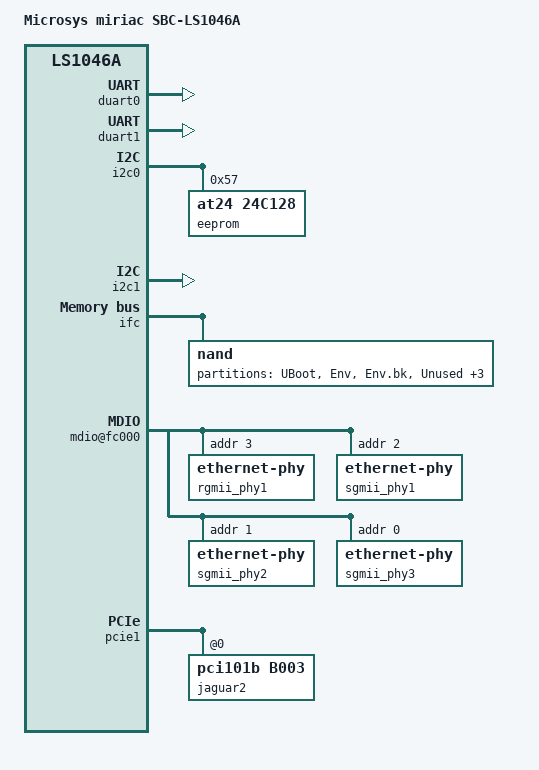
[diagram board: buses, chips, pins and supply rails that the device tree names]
// SPDX-License-Identifier: (GPL-2.0+ OR MIT)

/dts-v1/;

#include "fsl-ls1046a.dtsi"
#include "fsl-ls1046a-miriac-mpxls1046.dtsi"

/ {
	model = "Microsys miriac SBC-LS1046A";
	compatible = "microsys,sbc1046a", "microsys,mpxls1046a", "fsl,ls1046a";

	aliases {
		ethernet0 = &enet2;
		ethernet1 = &enet4;
		ethernet2 = &enet5;
		ethernet3 = &enet6;

		serial0 = &duart0;
		serial1 = &duart1;
		serial2 = &duart2;
		serial3 = &duart3;
	};

	chosen {
		stdout-path = "serial0:115200n8";
	};

	meba {
		board = "Jaguar2 pcb110 via PCI";
		pcb = "pcb110";
	};
};

&duart0 {
	status = "okay";
};

&duart1 {
	status = "okay";
};

&i2c0 {
	status = "okay";

	eeprom@57 {
		compatible = "at24,24c128";
		reg = <0x57>;
	};
};

&i2c1 {
	status = "okay";
};

&ifc {
	nand@0,0 {
		partition@0 {
			reg = <0x0 0x00100000>;
			label = "UBoot";
			read-only;
		};

		partition@100000 {
			reg = <0x00100000 0x00040000>;
			label = "Env";
		};

		partition@140000 {
			reg = <0x00140000 0x00040000>;
			label = "Env.bk";
		};

		partition@180000 {
			reg = <0x00180000 0x00080000>;
			label = "Unused";
		};

		partition@200000 {
			reg = <0x00200000 0x01400000>;
			label = "linux";
		};

		partition@1600000 {
			reg = <0x01600000 0x01400000>;
			label = "linux.bk";
		};

		partition@2a00000 {
			reg = <0x02a00000 0x1d600000>;
			label = "rootfs_nand_data";
		};
	};
};

#include "fsl-ls1046-post.dtsi"

&fman0 {
	compatible = "fsl,fman", "simple-bus";

	ethernet@e4000 {
		phy-handle = <&rgmii_phy1>;
		phy-connection-type = "rgmii";
	};

	ethernet@e8000 {
		phy-handle = <&sgmii_phy1>;
		phy-connection-type = "sgmii";
	};

	ethernet@ea000 {
		phy-handle = <&sgmii_phy2>;
		phy-connection-type = "sgmii";
	};

	ethernet@f0000 {
		phy-handle = <&sgmii_phy3>;
		phy-connection-type = "sgmii";
	};

	mdio@fc000 {
		rgmii_phy1: ethernet-phy@3 {
			reg = <3>;
		};

		sgmii_phy1: ethernet-phy@2 {
			reg = <2>;
		};

		sgmii_phy2: ethernet-phy@1 {
			reg = <1>;
		};

		sgmii_phy3: ethernet-phy@0 {
			reg = <0>;
		};
	};
};

&pcie1 {
	pci@0,0 {
		#address-cells = <3>;
		#size-cells = <2>;
		reg = <0 0 0 0 0>;
		device_type = "pci";
		ranges = <0x82000000 0x0 0x40000000 0x82000000 0x0 0x40000000 0 0x40000000>;

		jaguar2: switch@0,0 {
			compatible = "pci101b,b003";

			reg = <0x0000 0 0 0 0>;
			#address-cells = <1>;
			#size-cells = <1>;
			ranges = <0 0x82000000 0x0 0x48000000 0x2000000>;

			#interrupt-cells = <1>;
			interrupt-controller;
			interrupt-parent = <&jaguar2>;

			jaguar_clk: jaguar-clock {
				compatible = "fixed-clock";
				#clock-cells = <0>;
				clock-frequency = <250000000>;
			};

			cpu_ctrl: syscon@0 {
				compatible = "mscc,jaguar2-cpu-syscon", "syscon";
				reg = <0x0 0x2c>;
			};

			gpio: pinctrl@1070034 {
				compatible = "mscc,jaguar2-pinctrl";
				reg = <0x1010038 0x90>;
				gpio-controller;
				#gpio-cells = <2>;
				gpio-ranges = <&gpio 0 0 64>;

				uart_pins: uart-pins {
					pins = "GPIO_10", "GPIO_11";
					function = "uart";
				};

				uart2_pins: uart2-pins {
					pins = "GPIO_24", "GPIO_25";
					function = "uart2";
				};

				i2c_pins: i2c-pins {
					pins = "GPIO_14", "GPIO_15";
					function = "twi";
				};

				i2c2_pins: i2c2-pins {
					pins = "GPIO_28", "GPIO_29";
					function = "twi2";
				};

				twiscl_m_pins: twiscl_m-pins {
					pins = "GPIO_17", "GPIO_18", "GPIO_20", "GPIO_21";
					function = "twi_scl_m";
				};
			};

			serial@100000 {
				pinctrl-0 = <&uart_pins>;
				pinctrl-names = "default";
				compatible = "ns16550a";
				reg = <0x100000 0x100>;
				interrupts = <6>;
				clocks = <&jaguar_clk>;
				no-loopback-test;
				reg-io-width = <4>;
				reg-shift = <2>;
			};

			i2c_parent: i2c@100400 {
				compatible = "mscc,ocelot-i2c", "snps,designware-i2c";
				pinctrl-0 = <&i2c_pins>;
				pinctrl-names = "default";
				reg = <0x100400 0x100>, <0x1b8 0x8>;
				#address-cells = <1>;
				#size-cells = <0>;
				interrupts = <8>;
				i2c-sda-hold-time-ns = <300>;
				clock-frequency = <100000>;
				clocks = <&jaguar_clk>;
			};

			i2cmux {
				compatible = "i2c-mux-gpio";
				pinctrl-0 = <&twiscl_m_pins>;
				#address-cells = <1>;
				#size-cells = <0>;
				mux-gpios = <&gpio 17 0 &gpio 18 0 &gpio 20 0 &gpio 21 0 &gpio 51 0 &gpio 52 0 &gpio 53 0 &gpio 58 0 &gpio 59 0>;
				i2c-parent = <&i2c_parent>;

				i2c@100 {
					#address-cells = <1>;
					#size-cells = <0>;
					reg = <0x100>;
				};

				i2c@110 {
					#address-cells = <1>;
					#size-cells = <0>;
					reg = <0x110>;
				};

				i2c@120 {
					#address-cells = <1>;
					#size-cells = <0>;
					reg = <0x120>;
				};

				i2c@130 {
					#address-cells = <1>;
					#size-cells = <0>;
					reg = <0x130>;
				};

				i2c@140 {
					#address-cells = <1>;
					#size-cells = <0>;
					reg = <0x140>;
				};

				i2c@150 {
					#address-cells = <1>;
					#size-cells = <0>;
					reg = <0x150>;
				};

				i2c@160 {
					#address-cells = <1>;
					#size-cells = <0>;
					reg = <0x160>;
				};

				i2c@170 {
					#address-cells = <1>;
					#size-cells = <0>;
					reg = <0x170>;
				};

				i2c@80 {
					#address-cells = <1>;
					#size-cells = <0>;
					reg = <0x80>;
				};

				i2c@90 {
					#address-cells = <1>;
					#size-cells = <0>;
					reg = <0x90>;
				};

				i2c@A0 {
					#address-cells = <1>;
					#size-cells = <0>;
					reg = <0xA0>;
				};

				i2c@B0 {
					#address-cells = <1>;
					#size-cells = <0>;
					reg = <0xB0>;
				};

				i2c@C0 {
					#address-cells = <1>;
					#size-cells = <0>;
					reg = <0xC0>;
				};

				i2c@D0 {
					#address-cells = <1>;
					#size-cells = <0>;
					reg = <0xD0>;
				};

				i2c@E0 {
					#address-cells = <1>;
					#size-cells = <0>;
					reg = <0xE0>;
				};

				i2c@F0 {
					#address-cells = <1>;
					#size-cells = <0>;
					reg = <0xF0>;
				};

				i2c@1 {
					#address-cells = <1>;
					#size-cells = <0>;
					reg = <0x1>;
				};

				i2c@2 {
					#address-cells = <1>;
					#size-cells = <0>;
					reg = <0x2>;
				};

				i2c@4 {
					#address-cells = <1>;
					#size-cells = <0>;
					reg = <0x4>;
				};

				i2c@8 {
					#address-cells = <1>;
					#size-cells = <0>;
					reg = <0x8>;
				};
			};

			serial@100800 {
				pinctrl-0 = <&uart2_pins>;
				pinctrl-names = "default";
				compatible = "ns16550a";
				reg = <0x100800 0x100>;
				interrupts = <7>;
				clocks = <&jaguar_clk>;
				reg-io-width = <4>;
				reg-shift = <2>;
				no-loopback-test;
			};

			spi@101000 {
				compatible = "mscc,jaguar2-spi";
				#address-cells = <1>;
				#size-cells = <0>;
				reg = <0x101000 0x1000>, <0x3c 0x18>;
				interrupts = <10>;
				clocks = <&jaguar_clk>;

				flash@0 {
					compatible = "mx25l25635e", "jedec,spi-nor";
					spi-max-frequency = <20840000>;
					reg = <0>;
				};
			};
		};
	};
};
